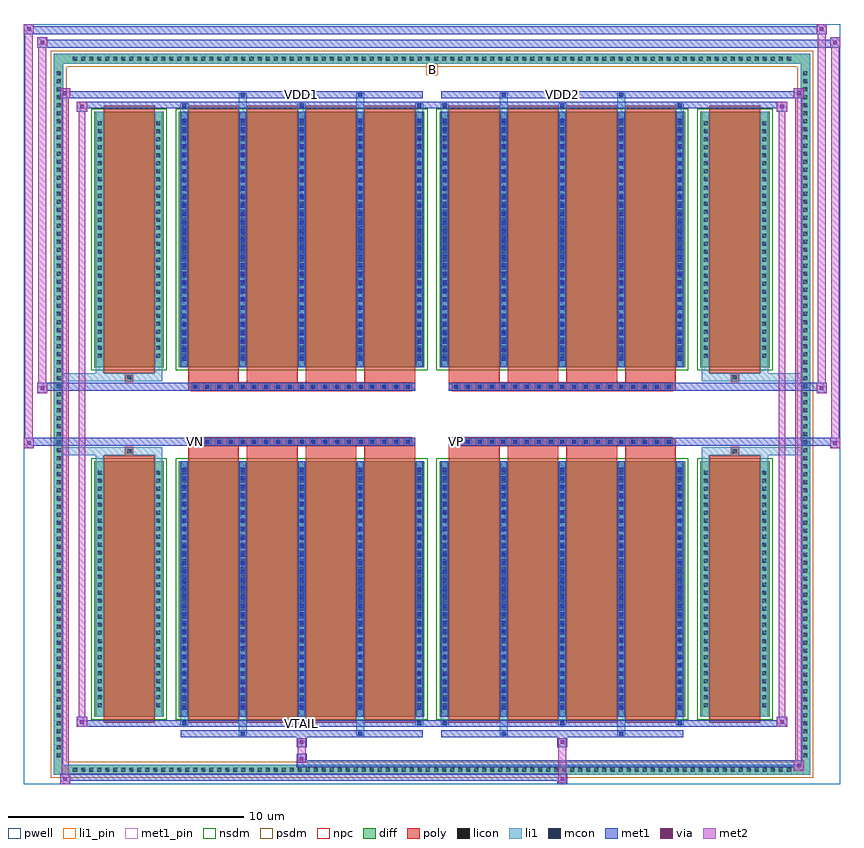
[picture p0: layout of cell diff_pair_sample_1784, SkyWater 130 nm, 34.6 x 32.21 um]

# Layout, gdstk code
import gdstk
lib = gdstk.Library(unit=1e-6, precision=5e-09)
def R(c, l, rs):  # rectangles x0, y0, x1, y1
    for r in rs: c.add(gdstk.rectangle(r[:2], r[2:], *l))
def A(c, l, x, y, w, h, nx, ny, dx, dy):  # array of equal rectangles
    R(c, l, [(x+i*dx, y+j*dy, x+i*dx+w, y+j*dy+h) for i in range(nx) for j in range(ny)])
def P(c, l, *ps):  # polygons
    for p in ps: c.add(gdstk.Polygon(p, *l))
pwell = (64, 44)
diff = (65, 20)
poly = (66, 20)
licon = (66, 44)
li1_pin = (67, 16)
li1 = (67, 20)
mcon = (67, 44)
met1_pin = (68, 16)
met1 = (68, 20)
via = (68, 44)
met2 = (69, 20)
nsdm = (93, 44)
psdm = (94, 20)
npc = (95, 20)

diff_pair_sample_1784 = lib.new_cell('diff_pair_sample_1784')
R(diff_pair_sample_1784, pwell, [(-17.3,-15.67,17.3,16.54), (-14.62,-13.86,-0.01,-0.8), (0.01,-13.86,14.62,-0.8), (-14.62,0.8,-0.01,13.86), (0.01,0.8,14.62,13.86)])
A(diff_pair_sample_1784, diff, -15.335, -15.27, 0.41, 0.41, 90, 2, 0.34, 30.13)
A(diff_pair_sample_1784, diff, -16.03, -14.655, 0.41, 0.41, 1, 86, 0, 0.34)
A(diff_pair_sample_1784, diff, 15.62, -14.655, 0.41, 0.41, 1, 86, 0, 0.34)
R(diff_pair_sample_1784, diff, [(-15.335,-15.27,15.335,-14.86), (-16.03,-14.655,-15.62,14.655), (15.62,-14.655,16.03,14.655), (-14.31,-12.815,-11.37,-1.985), (-10.73,-12.815,-0.32,-1.985), (0.32,-12.815,10.73,-1.985), (11.37,-12.815,14.31,-1.985), (-14.31,1.985,-11.37,12.815), (-10.73,1.985,-0.32,12.815), (0.32,1.985,10.73,12.815), (11.37,1.985,14.31,12.815), (-15.335,14.86,15.335,15.27)])
P(diff_pair_sample_1784, diff, [(16.03,15.27),(-16.03,15.27),(-16.03,-14.86),(-15.62,-14.86),(-15.62,14.86),(15.62,14.86),(15.62,-14.86),(-15.62,-14.86),(-16.03,-14.86),(-16.03,-15.27),(16.03,-15.27)])
A(diff_pair_sample_1784, poly, -10.34, -13.065, 2.16, 11.33, 4, 2, 2.49, 14.8)
A(diff_pair_sample_1784, poly, 0.71, -13.065, 2.16, 11.33, 4, 2, 2.49, 14.8)
A(diff_pair_sample_1784, poly, -10.34, -1.735, 2.16, 0.405, 4, 2, 2.49, 3.065)
A(diff_pair_sample_1784, poly, 0.71, -1.735, 2.16, 0.405, 4, 2, 2.49, 3.065)
A(diff_pair_sample_1784, poly, -10.19, -1.33, 0.33, 0.33, 19, 2, 0.5, 2.33)
A(diff_pair_sample_1784, poly, 0.86, -1.33, 0.33, 0.33, 19, 2, 0.5, 2.33)
R(diff_pair_sample_1784, poly, [(-13.92,-13.065,-11.76,-1.735), (11.76,-13.065,13.92,-1.735), (-13.005,-1.735,-12.675,-1.405), (-13.005,-1.735,-12.675,-1.405), (12.675,-1.735,13.005,-1.405), (12.675,-1.735,13.005,-1.405), (-10.34,-1.33,-0.71,-1), (0.71,-1.33,10.34,-1), (-10.34,1,-0.71,1.33), (0.71,1,10.34,1.33), (-13.005,1.405,-12.675,1.735), (-13.005,1.405,-12.675,1.735), (12.675,1.405,13.005,1.735), (12.675,1.405,13.005,1.735), (-13.92,1.735,-11.76,13.065), (11.76,1.735,13.92,13.065)])
A(diff_pair_sample_1784, licon, -15.215, -15.15, 0.17, 0.17, 90, 2, 0.34, 30.13)
A(diff_pair_sample_1784, licon, -15.91, -14.535, 0.17, 0.17, 1, 86, 0, 0.34)
A(diff_pair_sample_1784, licon, 15.74, -14.535, 0.17, 0.17, 1, 86, 0, 0.34)
A(diff_pair_sample_1784, licon, -14.17, -12.415, 0.17, 0.17, 1, 30, 0, 0.34)
A(diff_pair_sample_1784, licon, -11.68, -12.415, 0.17, 0.17, 1, 30, 0, 0.34)
A(diff_pair_sample_1784, licon, -10.59, -12.415, 0.17, 0.17, 5, 30, 2.49, 0.34)
A(diff_pair_sample_1784, licon, 0.46, -12.415, 0.17, 0.17, 5, 30, 2.49, 0.34)
A(diff_pair_sample_1784, licon, 11.51, -12.415, 0.17, 0.17, 1, 30, 0, 0.34)
A(diff_pair_sample_1784, licon, 14, -12.415, 0.17, 0.17, 1, 30, 0, 0.34)
A(diff_pair_sample_1784, licon, -10.11, -1.25, 0.17, 0.17, 19, 2, 0.5, 2.33)
A(diff_pair_sample_1784, licon, 0.94, -1.25, 0.17, 0.17, 19, 2, 0.5, 2.33)
A(diff_pair_sample_1784, licon, -14.17, 2.385, 0.17, 0.17, 1, 30, 0, 0.34)
A(diff_pair_sample_1784, licon, -11.68, 2.385, 0.17, 0.17, 1, 30, 0, 0.34)
A(diff_pair_sample_1784, licon, -10.59, 2.385, 0.17, 0.17, 5, 30, 2.49, 0.34)
A(diff_pair_sample_1784, licon, 0.46, 2.385, 0.17, 0.17, 5, 30, 2.49, 0.34)
A(diff_pair_sample_1784, licon, 11.51, 2.385, 0.17, 0.17, 1, 30, 0, 0.34)
A(diff_pair_sample_1784, licon, 14, 2.385, 0.17, 0.17, 1, 30, 0, 0.34)
R(diff_pair_sample_1784, licon, [(-12.925,-1.655,-12.755,-1.485), (12.755,-1.655,12.925,-1.485), (-12.925,1.485,-12.755,1.655), (12.755,1.485,12.925,1.655)])
R(diff_pair_sample_1784, li1_pin, [(-0.25,14.36,0.25,14.86)])
A(diff_pair_sample_1784, li1, -15.295, -15.23, 0.33, 0.33, 90, 2, 0.34, 30.13)
A(diff_pair_sample_1784, li1, -15.99, -14.615, 0.33, 0.33, 1, 86, 0, 0.34)
A(diff_pair_sample_1784, li1, 15.66, -14.615, 0.33, 0.33, 1, 86, 0, 0.34)
A(diff_pair_sample_1784, li1, -10.67, -13.19, 0.33, 0.375, 3, 2, 4.98, 26.005)
A(diff_pair_sample_1784, li1, -10.59, -13.19, 0.17, 0.17, 3, 2, 4.98, 26.21)
A(diff_pair_sample_1784, li1, 0.38, -13.19, 0.33, 0.375, 3, 2, 4.98, 26.005)
A(diff_pair_sample_1784, li1, 0.46, -13.19, 0.17, 0.17, 3, 2, 4.98, 26.21)
A(diff_pair_sample_1784, li1, -10.67, -12.815, 0.33, 10.83, 5, 2, 2.49, 14.8)
A(diff_pair_sample_1784, li1, 0.38, -12.815, 0.33, 10.83, 5, 2, 2.49, 14.8)
A(diff_pair_sample_1784, li1, -10.59, -12.525, 0.17, 0.17, 5, 29, 2.49, 0.36)
A(diff_pair_sample_1784, li1, -10.59, -12.525, 0.17, 10.25, 5, 2, 2.49, 14.8)
A(diff_pair_sample_1784, li1, 0.46, -12.525, 0.17, 0.17, 5, 29, 2.49, 0.36)
A(diff_pair_sample_1784, li1, 0.46, -12.525, 0.17, 10.25, 5, 2, 2.49, 14.8)
A(diff_pair_sample_1784, li1, -14.25, -12.495, 0.33, 0.33, 1, 30, 0, 0.34)
A(diff_pair_sample_1784, li1, -11.76, -12.495, 0.33, 0.33, 1, 30, 0, 0.34)
A(diff_pair_sample_1784, li1, -10.67, -12.495, 0.33, 0.33, 5, 30, 2.49, 0.34)
A(diff_pair_sample_1784, li1, 0.38, -12.495, 0.33, 0.33, 5, 30, 2.49, 0.34)
A(diff_pair_sample_1784, li1, 11.43, -12.495, 0.33, 0.33, 1, 30, 0, 0.34)
A(diff_pair_sample_1784, li1, 13.92, -12.495, 0.33, 0.33, 1, 30, 0, 0.34)
A(diff_pair_sample_1784, li1, -10.19, -1.33, 0.33, 0.33, 19, 2, 0.5, 2.33)
A(diff_pair_sample_1784, li1, 0.86, -1.33, 0.33, 0.33, 19, 2, 0.5, 2.33)
A(diff_pair_sample_1784, li1, -10.59, 2.275, 0.17, 0.17, 5, 29, 2.49, 0.36)
A(diff_pair_sample_1784, li1, 0.46, 2.275, 0.17, 0.17, 5, 29, 2.49, 0.36)
A(diff_pair_sample_1784, li1, -14.25, 2.305, 0.33, 0.33, 1, 30, 0, 0.34)
A(diff_pair_sample_1784, li1, -11.76, 2.305, 0.33, 0.33, 1, 30, 0, 0.34)
A(diff_pair_sample_1784, li1, -10.67, 2.305, 0.33, 0.33, 5, 30, 2.49, 0.34)
A(diff_pair_sample_1784, li1, 0.38, 2.305, 0.33, 0.33, 5, 30, 2.49, 0.34)
A(diff_pair_sample_1784, li1, 11.43, 2.305, 0.33, 0.33, 1, 30, 0, 0.34)
A(diff_pair_sample_1784, li1, 13.92, 2.305, 0.33, 0.33, 1, 30, 0, 0.34)
R(diff_pair_sample_1784, li1, [(-16.03,-15.27,-15.62,-14.86), (-16.03,-15.27,-15.62,-14.86), (-15.62,-15.27,15.62,-14.86), (15.62,-15.27,16.03,-14.86), (15.62,-15.27,16.03,-14.86), (-16.03,-14.86,-15.62,14.86), (15.62,-14.86,16.03,14.86), (-8.18,-13.62,-7.85,-12.815), (-8.1,-13.62,-7.93,-13.45), (-3.2,-13.62,-2.87,-12.815), (-3.12,-13.62,-2.95,-13.45), (2.87,-13.62,3.2,-12.815), (2.95,-13.62,3.12,-13.45), (7.85,-13.62,8.18,-12.815), (7.93,-13.62,8.1,-13.45), (-14.25,-12.815,-13.92,-1.985), (-11.76,-12.815,-11.43,-1.985), (11.43,-12.815,11.76,-1.985), (13.92,-12.815,14.25,-1.985), (-14.25,-1.985,-13.92,-1.405), (-11.76,-1.985,-11.43,-1.405), (11.43,-1.985,11.76,-1.405), (13.92,-1.985,14.25,-1.405), (-16.03,-1.735,-13.005,-1.405), (-14.25,-1.735,-13.005,-1.405), (-13.005,-1.735,-12.675,-1.405), (-12.675,-1.735,-11.43,-1.405), (11.43,-1.735,12.675,-1.405), (12.675,-1.735,13.005,-1.405), (12.675,-1.735,16.03,-1.405), (13.005,-1.735,14.25,-1.405), (-16.03,1.405,-13.005,1.735), (-14.25,1.405,-13.005,1.735), (-14.25,1.405,-13.92,1.985), (-13.005,1.405,-12.675,1.735), (-12.675,1.405,-11.43,1.735), (-11.76,1.405,-11.43,1.985), (11.43,1.405,12.675,1.735), (11.43,1.405,11.76,1.985), (12.675,1.405,13.005,1.735), (12.675,1.405,16.03,1.735), (13.005,1.405,14.25,1.735), (13.92,1.405,14.25,1.985), (-14.25,1.985,-13.92,12.815), (-11.76,1.985,-11.43,12.815), (11.43,1.985,11.76,12.815), (13.92,1.985,14.25,12.815), (-8.18,12.815,-7.85,13.62), (-3.2,12.815,-2.87,13.62), (2.87,12.815,3.2,13.62), (7.85,12.815,8.18,13.62), (-8.1,13.45,-7.93,13.62), (-3.12,13.45,-2.95,13.62), (2.95,13.45,3.12,13.62), (7.93,13.45,8.1,13.62), (-16.03,14.86,-15.62,15.27), (-16.03,14.86,-15.62,15.27), (-15.62,14.86,15.62,15.27), (15.62,14.86,16.03,15.27), (15.62,14.86,16.03,15.27)])
A(diff_pair_sample_1784, mcon, -10.59, -13.19, 0.17, 0.17, 3, 2, 4.98, 26.21)
A(diff_pair_sample_1784, mcon, 0.46, -13.19, 0.17, 0.17, 3, 2, 4.98, 26.21)
A(diff_pair_sample_1784, mcon, -10.59, -12.525, 0.17, 0.17, 5, 29, 2.49, 0.36)
A(diff_pair_sample_1784, mcon, 0.46, -12.525, 0.17, 0.17, 5, 29, 2.49, 0.36)
A(diff_pair_sample_1784, mcon, -10.11, -1.25, 0.17, 0.17, 19, 2, 0.5, 2.33)
A(diff_pair_sample_1784, mcon, 0.94, -1.25, 0.17, 0.17, 19, 2, 0.5, 2.33)
A(diff_pair_sample_1784, mcon, -10.59, 2.275, 0.17, 0.17, 5, 29, 2.49, 0.36)
A(diff_pair_sample_1784, mcon, 0.46, 2.275, 0.17, 0.17, 5, 29, 2.49, 0.36)
R(diff_pair_sample_1784, mcon, [(-8.1,-13.62,-7.93,-13.45), (-3.12,-13.62,-2.95,-13.45), (2.95,-13.62,3.12,-13.45), (7.93,-13.62,8.1,-13.45), (-8.1,13.45,-7.93,13.62), (-3.12,13.45,-2.95,13.62), (2.95,13.45,3.12,13.62), (7.93,13.45,8.1,13.62)])
R(diff_pair_sample_1784, met1_pin, [(-5.66,-13.23,-5.39,-12.96), (-10.16,-1.29,-9.89,-1.02), (0.89,-1.29,1.16,-1.02), (-5.66,13.41,-5.39,13.68), (5.39,13.41,5.66,13.68)])
A(diff_pair_sample_1784, met1, -10.65, -13.25, 0.29, 0.29, 3, 2, 4.98, 26.21)
A(diff_pair_sample_1784, met1, 0.4, -13.25, 0.29, 0.29, 3, 2, 4.98, 26.21)
A(diff_pair_sample_1784, met1, -10.65, -12.815, 0.29, 10.83, 5, 2, 2.49, 14.8)
A(diff_pair_sample_1784, met1, 0.4, -12.815, 0.29, 10.83, 5, 2, 2.49, 14.8)
A(diff_pair_sample_1784, met1, -10.65, -12.585, 0.29, 0.29, 5, 29, 2.49, 0.36)
A(diff_pair_sample_1784, met1, 0.4, -12.585, 0.29, 0.29, 5, 29, 2.49, 0.36)
A(diff_pair_sample_1784, met1, -10.17, -1.31, 0.29, 0.29, 19, 2, 0.5, 2.33)
A(diff_pair_sample_1784, met1, 0.88, -1.31, 0.29, 0.29, 19, 2, 0.5, 2.33)
A(diff_pair_sample_1784, met1, -10.65, 2.215, 0.29, 0.29, 5, 29, 2.49, 0.36)
A(diff_pair_sample_1784, met1, 0.4, 2.215, 0.29, 0.29, 5, 29, 2.49, 0.36)
R(diff_pair_sample_1784, met1, [(-15.76,-15.67,-15.33,-15.24), (5.31,-15.67,5.74,-15.24), (-15.76,-15.53,5.74,-15.24), (15.33,-15.1,15.76,-14.67), (-5.74,-14.96,15.76,-14.67), (-5.74,-14.82,-5.31,-14.39), (-5.74,-14.11,-5.31,-13.68), (5.31,-14.11,5.74,-13.68), (-10.65,-13.68,-0.4,-13.39), (-8.16,-13.68,-7.87,-13.39), (-3.18,-13.68,-2.89,-13.39), (0.4,-13.68,10.65,-13.39), (2.89,-13.68,3.18,-13.39), (7.87,-13.68,8.16,-13.39), (-15.05,-13.25,-14.62,-12.82), (-15.05,-13.25,-10.65,-12.96), (-10.65,-13.25,-0.4,-12.96), (-0.4,-13.25,0.4,-12.96), (0.4,-13.25,10.65,-12.96), (10.65,-13.25,15.05,-12.96), (14.62,-13.25,15.05,-12.82), (-17.3,-1.43,-16.87,-1), (16.87,-1.43,17.3,-1), (-17.3,-1.33,-0.71,-1), (-10.34,-1.33,-0.71,-1), (0.71,-1.33,10.34,-1), (0.71,-1.33,17.3,-1), (-16.73,0.9,-16.3,1.33), (16.3,0.9,16.73,1.33), (-16.73,1,-10.34,1.33), (-10.34,1,-0.71,1.33), (0.71,1,10.34,1.33), (10.34,1,16.73,1.33), (-15.05,12.82,-14.62,13.25), (14.62,12.82,15.05,13.25), (-15.05,12.96,-10.65,13.25), (-10.65,12.96,-0.4,13.25), (-0.4,12.96,0.4,13.25), (0.4,12.96,10.65,13.25), (10.65,12.96,15.05,13.25), (-15.76,13.39,-15.33,13.82), (-15.76,13.39,-10.65,13.68), (-10.65,13.39,-0.4,13.68), (-8.16,13.39,-7.87,13.68), (-3.18,13.39,-2.89,13.68), (0.4,13.39,10.65,13.68), (2.89,13.39,3.18,13.68), (7.87,13.39,8.16,13.68), (10.65,13.39,15.76,13.68), (15.33,13.39,15.76,13.82), (-16.73,15.54,-16.3,15.97), (-16.73,15.54,-14.62,15.87), (-14.62,15.54,14.62,15.87), (14.62,15.54,17.3,15.87), (16.87,15.54,17.3,15.97), (-17.3,16.11,-16.87,16.54), (-17.3,16.11,-14.62,16.44), (-14.62,16.11,14.62,16.44), (14.62,16.11,16.73,16.44), (16.3,16.11,16.73,16.54)])
R(diff_pair_sample_1784, via, [(-15.62,-15.53,-15.47,-15.38), (5.45,-15.53,5.6,-15.38), (15.47,-14.96,15.62,-14.81), (-5.6,-14.68,-5.45,-14.53), (-5.6,-13.97,-5.45,-13.82), (5.45,-13.97,5.6,-13.82), (-14.91,-13.11,-14.76,-12.96), (14.76,-13.11,14.91,-12.96), (-17.16,-1.29,-17.01,-1.14), (17.01,-1.29,17.16,-1.14), (-16.59,1.04,-16.44,1.19), (16.44,1.04,16.59,1.19), (-14.91,12.96,-14.76,13.11), (14.76,12.96,14.91,13.11), (-15.62,13.53,-15.47,13.68), (15.47,13.53,15.62,13.68), (-16.59,15.68,-16.44,15.83), (17.01,15.68,17.16,15.83), (-17.16,16.25,-17.01,16.4), (16.44,16.25,16.59,16.4)])
R(diff_pair_sample_1784, met2, [(-15.76,-15.67,-15.33,-15.24), (-15.69,-15.67,-15.4,13.82), (-15.4,-15.67,-15.33,-15.24), (-15.71,-15.62,-15.38,-15.29), (5.36,-15.62,5.69,-15.29), (5.36,-15.29,5.69,-14.06), (15.33,-15.1,15.76,-14.67), (15.4,-15.1,15.69,13.82), (15.69,-15.1,15.76,-14.67), (15.38,-15.05,15.71,-14.72), (-5.69,-14.77,-5.36,-14.44), (-5.69,-14.44,-5.36,-14.06), (-5.69,-14.06,-5.36,-13.73), (5.36,-14.06,5.69,-13.73), (-15.05,-13.25,-14.62,-12.82), (-14.98,-13.25,-14.69,13.25), (-14.69,-13.25,-14.62,-12.82), (14.62,-13.25,15.05,-12.82), (14.69,-13.25,14.98,13.25), (14.98,-13.25,15.05,-12.82), (-15,-13.2,-14.67,-12.87), (14.67,-13.2,15,-12.87), (-17.3,-1.43,-16.87,-1), (-17.25,-1.43,-16.92,16.54), (-16.92,-1.43,-16.87,-1), (16.87,-1.43,17.3,-1), (16.92,-1.43,17.25,15.97), (17.25,-1.43,17.3,-1), (-17.25,-1.38,-16.92,-1.05), (16.92,-1.38,17.25,-1.05), (-16.73,0.9,-16.3,1.33), (-16.68,0.9,-16.35,15.97), (-16.35,0.9,-16.3,1.33), (16.3,0.9,16.73,1.33), (16.35,0.9,16.68,16.54), (16.68,0.9,16.73,1.33), (-16.68,0.95,-16.35,1.28), (16.35,0.95,16.68,1.28), (-15.05,12.82,-14.62,13.25), (-14.69,12.82,-14.62,13.25), (14.62,12.82,15.05,13.25), (14.98,12.82,15.05,13.25), (-15,12.87,-14.67,13.2), (14.67,12.87,15,13.2), (-15.76,13.39,-15.33,13.82), (-15.4,13.39,-15.33,13.82), (15.33,13.39,15.76,13.82), (15.69,13.39,15.76,13.82), (-15.71,13.44,-15.38,13.77), (15.38,13.44,15.71,13.77), (-16.73,15.54,-16.3,15.97), (-16.35,15.54,-16.3,15.97), (16.87,15.54,17.3,15.97), (17.25,15.54,17.3,15.97), (-16.68,15.59,-16.35,15.92), (16.92,15.59,17.25,15.92), (-17.3,16.11,-16.87,16.54), (-16.92,16.11,-16.87,16.54), (16.3,16.11,16.73,16.54), (16.68,16.11,16.73,16.54), (-17.25,16.16,-16.92,16.49), (16.35,16.16,16.68,16.49)])
R(diff_pair_sample_1784, nsdm, [(-14.44,-12.945,-11.24,-1.855), (-10.86,-12.945,-0.19,-1.855), (0.19,-12.945,10.86,-1.855), (11.24,-12.945,14.44,-1.855), (-14.44,1.855,-11.24,12.945), (-10.86,1.855,-0.19,12.945), (0.19,1.855,10.86,12.945), (11.24,1.855,14.44,12.945)])
P(diff_pair_sample_1784, psdm, [(16.16,15.4),(-16.16,15.4),(-16.16,-14.73),(-15.49,-14.73),(-15.49,14.73),(15.49,14.73),(15.49,-14.73),(-15.49,-14.73),(-16.16,-14.73),(-16.16,-15.4),(16.16,-15.4)])
A(diff_pair_sample_1784, npc, -10.21, -1.35, 0.37, 0.37, 19, 2, 0.5, 2.33)
A(diff_pair_sample_1784, npc, 0.84, -1.35, 0.37, 0.37, 19, 2, 0.5, 2.33)
R(diff_pair_sample_1784, npc, [(-13.025,-1.755,-12.655,-1.385), (12.655,-1.755,13.025,-1.385), (-10.21,-1.35,-9.34,-0.98), (-10.21,-1.35,-9.34,-0.98), (-9.71,-1.35,-8.84,-0.98), (-9.71,-1.35,-8.84,-0.98), (-9.21,-1.35,-8.34,-0.98), (-9.21,-1.35,-8.34,-0.98), (-8.71,-1.35,-7.84,-0.98), (-8.71,-1.35,-7.84,-0.98), (-8.21,-1.35,-7.34,-0.98), (-8.21,-1.35,-7.34,-0.98), (-7.71,-1.35,-6.84,-0.98), (-7.71,-1.35,-6.84,-0.98), (-7.21,-1.35,-6.34,-0.98), (-7.21,-1.35,-6.34,-0.98), (-6.71,-1.35,-5.84,-0.98), (-6.71,-1.35,-5.84,-0.98), (-6.21,-1.35,-5.34,-0.98), (-6.21,-1.35,-5.34,-0.98), (-5.71,-1.35,-4.84,-0.98), (-5.71,-1.35,-4.84,-0.98), (-5.21,-1.35,-4.34,-0.98), (-5.21,-1.35,-4.34,-0.98), (-4.71,-1.35,-3.84,-0.98), (-4.71,-1.35,-3.84,-0.98), (-4.21,-1.35,-3.34,-0.98), (-4.21,-1.35,-3.34,-0.98), (-3.71,-1.35,-2.84,-0.98), (-3.71,-1.35,-2.84,-0.98), (-3.21,-1.35,-2.34,-0.98), (-3.21,-1.35,-2.34,-0.98), (-2.71,-1.35,-1.84,-0.98), (-2.71,-1.35,-1.84,-0.98), (-2.21,-1.35,-1.34,-0.98), (-2.21,-1.35,-1.34,-0.98), (-1.71,-1.35,-0.84,-0.98), (-1.71,-1.35,-0.84,-0.98), (0.84,-1.35,1.71,-0.98), (0.84,-1.35,1.71,-0.98), (1.34,-1.35,2.21,-0.98), (1.34,-1.35,2.21,-0.98), (1.84,-1.35,2.71,-0.98), (1.84,-1.35,2.71,-0.98), (2.34,-1.35,3.21,-0.98), (2.34,-1.35,3.21,-0.98), (2.84,-1.35,3.71,-0.98), (2.84,-1.35,3.71,-0.98), (3.34,-1.35,4.21,-0.98), (3.34,-1.35,4.21,-0.98), (3.84,-1.35,4.71,-0.98), (3.84,-1.35,4.71,-0.98), (4.34,-1.35,5.21,-0.98), (4.34,-1.35,5.21,-0.98), (4.84,-1.35,5.71,-0.98), (4.84,-1.35,5.71,-0.98), (5.34,-1.35,6.21,-0.98), (5.34,-1.35,6.21,-0.98), (5.84,-1.35,6.71,-0.98), (5.84,-1.35,6.71,-0.98), (6.34,-1.35,7.21,-0.98), (6.34,-1.35,7.21,-0.98), (6.84,-1.35,7.71,-0.98), (6.84,-1.35,7.71,-0.98), (7.34,-1.35,8.21,-0.98), (7.34,-1.35,8.21,-0.98), (7.84,-1.35,8.71,-0.98), (7.84,-1.35,8.71,-0.98), (8.34,-1.35,9.21,-0.98), (8.34,-1.35,9.21,-0.98), (8.84,-1.35,9.71,-0.98), (8.84,-1.35,9.71,-0.98), (9.34,-1.35,10.21,-0.98), (9.34,-1.35,10.21,-0.98), (-10.21,0.98,-9.34,1.35), (-10.21,0.98,-9.34,1.35), (-9.71,0.98,-8.84,1.35), (-9.71,0.98,-8.84,1.35), (-9.21,0.98,-8.34,1.35), (-9.21,0.98,-8.34,1.35), (-8.71,0.98,-7.84,1.35), (-8.71,0.98,-7.84,1.35), (-8.21,0.98,-7.34,1.35), (-8.21,0.98,-7.34,1.35), (-7.71,0.98,-6.84,1.35), (-7.71,0.98,-6.84,1.35), (-7.21,0.98,-6.34,1.35), (-7.21,0.98,-6.34,1.35), (-6.71,0.98,-5.84,1.35), (-6.71,0.98,-5.84,1.35), (-6.21,0.98,-5.34,1.35), (-6.21,0.98,-5.34,1.35), (-5.71,0.98,-4.84,1.35), (-5.71,0.98,-4.84,1.35), (-5.21,0.98,-4.34,1.35), (-5.21,0.98,-4.34,1.35), (-4.71,0.98,-3.84,1.35), (-4.71,0.98,-3.84,1.35), (-4.21,0.98,-3.34,1.35), (-4.21,0.98,-3.34,1.35), (-3.71,0.98,-2.84,1.35), (-3.71,0.98,-2.84,1.35), (-3.21,0.98,-2.34,1.35), (-3.21,0.98,-2.34,1.35), (-2.71,0.98,-1.84,1.35), (-2.71,0.98,-1.84,1.35), (-2.21,0.98,-1.34,1.35), (-2.21,0.98,-1.34,1.35), (-1.71,0.98,-0.84,1.35), (-1.71,0.98,-0.84,1.35), (0.84,0.98,1.71,1.35), (0.84,0.98,1.71,1.35), (1.34,0.98,2.21,1.35), (1.34,0.98,2.21,1.35), (1.84,0.98,2.71,1.35), (1.84,0.98,2.71,1.35), (2.34,0.98,3.21,1.35), (2.34,0.98,3.21,1.35), (2.84,0.98,3.71,1.35), (2.84,0.98,3.71,1.35), (3.34,0.98,4.21,1.35), (3.34,0.98,4.21,1.35), (3.84,0.98,4.71,1.35), (3.84,0.98,4.71,1.35), (4.34,0.98,5.21,1.35), (4.34,0.98,5.21,1.35), (4.84,0.98,5.71,1.35), (4.84,0.98,5.71,1.35), (5.34,0.98,6.21,1.35), (5.34,0.98,6.21,1.35), (5.84,0.98,6.71,1.35), (5.84,0.98,6.71,1.35), (6.34,0.98,7.21,1.35), (6.34,0.98,7.21,1.35), (6.84,0.98,7.71,1.35), (6.84,0.98,7.71,1.35), (7.34,0.98,8.21,1.35), (7.34,0.98,8.21,1.35), (7.84,0.98,8.71,1.35), (7.84,0.98,8.71,1.35), (8.34,0.98,9.21,1.35), (8.34,0.98,9.21,1.35), (8.84,0.98,9.71,1.35), (8.84,0.98,9.71,1.35), (9.34,0.98,10.21,1.35), (9.34,0.98,10.21,1.35), (-13.025,1.385,-12.655,1.755), (12.655,1.385,13.025,1.755)])
diff_pair_sample_1784.add(gdstk.Label('VTAIL', (-5.525,-13.095), layer=68, texttype=5))
diff_pair_sample_1784.add(gdstk.Label('VN', (-10.025,-1.155), layer=68, texttype=5))
diff_pair_sample_1784.add(gdstk.Label('VP', (1.025,-1.155), layer=68, texttype=5))
diff_pair_sample_1784.add(gdstk.Label('B', (0,14.61), layer=67, texttype=5))
diff_pair_sample_1784.add(gdstk.Label('VDD2', (5.525,13.545), layer=68, texttype=5))
diff_pair_sample_1784.add(gdstk.Label('VDD1', (-5.525,13.545), layer=68, texttype=5))

lib.write_gds('diff_pair_sample_1784.gds')
